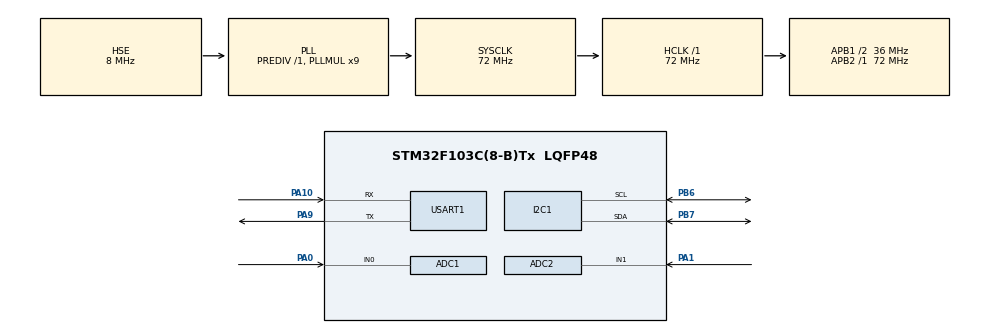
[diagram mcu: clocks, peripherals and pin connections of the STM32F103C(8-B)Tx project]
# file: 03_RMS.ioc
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ADC1.Channel-0\#ChannelRegularConversion=ADC_CHANNEL_0
ADC1.NbrOfConversionFlag=1
ADC1.Rank-0\#ChannelRegularConversion=1
ADC1.SamplingTime-0\#ChannelRegularConversion=ADC_SAMPLETIME_1CYCLE_5
ADC1.master=1
ADC2.Channel-0\#ChannelRegularConversion=ADC_CHANNEL_1
ADC2.NbrOfConversionFlag=1
ADC2.Rank-0\#ChannelRegularConversion=1
ADC2.SamplingTime-0\#ChannelRegularConversion=ADC_SAMPLETIME_1CYCLE_5
FREERTOS.Tasks01=defaultTask,24,128,StartDefaultTask,Default,NULL,Dynamic,NULL,NULL;TaskLCD,40,512,StartTaskLCD,Default,NULL,Dynamic,NULL,NULL;TaskUART,32,512,StartTaskUART,Default,NULL,Dynamic,NULL,NULL;TaskHumidity,24,128,StartTaskHumidity,Default,NULL,Dynamic,NULL,NULL;TaskTemperature,8,128,StartTaskTemperature,Default,NULL,Dynamic,NULL,NULL
FREERTOS.configTOTAL_HEAP_SIZE=7168
Mcu.Family=STM32F1
Mcu.Name=STM32F103C(8-B)Tx
Mcu.Package=LQFP48
NVIC.PriorityGroup=NVIC_PRIORITYGROUP_4
NVIC.TIM1_UP_IRQn=true\:15\:0\:false\:false\:true\:false\:false\:true\:true
NVIC.TimeBase=TIM1_UP_IRQn
NVIC.TimeBaseIP=TIM1
PA0-WKUP.Signal=ADCx_IN0
PA1.Signal=ADCx_IN1
PA10.Mode=Asynchronous
PA10.Signal=USART1_RX
PA13.Mode=Serial_Wire
PA13.Signal=SYS_JTMS-SWDIO
PA14.Mode=Serial_Wire
PA14.Signal=SYS_JTCK-SWCLK
PA9.Mode=Asynchronous
PA9.Signal=USART1_TX
PB6.Mode=I2C
PB6.Signal=I2C1_SCL
PB7.Mode=I2C
PB7.Signal=I2C1_SDA
PD0-OSC_IN.Mode=HSE-External-Oscillator
PD0-OSC_IN.Signal=RCC_OSC_IN
PD1-OSC_OUT.Mode=HSE-External-Oscillator
PD1-OSC_OUT.Signal=RCC_OSC_OUT
ProjectManager.HeapSize=0x200
ProjectManager.StackSize=0x400
ProjectManager.TargetToolchain=STM32CubeIDE
RCC.ADCPresc=RCC_ADCPCLK2_DIV6
RCC.AHBFreq_Value=72000000
RCC.APB1CLKDivider=RCC_HCLK_DIV2
RCC.APB1Freq_Value=36000000
RCC.APB1TimFreq_Value=72000000
RCC.APB2Freq_Value=72000000
RCC.APB2TimFreq_Value=72000000
RCC.HCLKFreq_Value=72000000
RCC.PLLMUL=RCC_PLL_MUL9
RCC.PLLSourceVirtual=RCC_PLLSOURCE_HSE
RCC.SYSCLKFreq_VALUE=72000000
RCC.SYSCLKSource=RCC_SYSCLKSOURCE_PLLCLK
RCC.USBFreq_Value=72000000
SH.ADCx_IN0.0=ADC1_IN0,IN0
SH.ADCx_IN1.0=ADC2_IN1,IN1
USART1.VirtualMode=VM_ASYNC
VP_FREERTOS_VS_CMSIS_V2.Mode=CMSIS_V2
VP_SYS_VS_tim1.Mode=TIM1
board=custom

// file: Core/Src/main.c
/* USER CODE BEGIN Header */
/**
  ******************************************************************************
  * @file           : main.c
  * @brief          : Main program body
  ******************************************************************************
  * @attention
  *
  * Copyright (c) 2026 STMicroelectronics.
  * All rights reserved.
  *
  * This software is licensed under terms that can be found in the LICENSE file
  * in the root directory of this software component.
  * If no LICENSE file comes with this software, it is provided AS-IS.
  *
  ******************************************************************************
  */
/* USER CODE END Header */
#include "main.h"
#include "cmsis_os.h"

/* USER CODE BEGIN Includes */
#include "stdio.h"
#include "math.h"
#include "CLCD_I2C.h"
/* USER CODE END Includes */

/* USER CODE BEGIN PTD */
volatile float humidity;
volatile float temperature;
/* USER CODE END PTD */

ADC_HandleTypeDef hadc1;
ADC_HandleTypeDef hadc2;

I2C_HandleTypeDef hi2c1;

UART_HandleTypeDef huart1;

/* Definitions for defaultTask */
osThreadId_t defaultTaskHandle;
const osThreadAttr_t defaultTask_attributes = {
  .name = "defaultTask",
  .stack_size = 128 * 4,
  .priority = (osPriority_t) osPriorityNormal,
};
/* Definitions for TaskLCD */
osThreadId_t TaskLCDHandle;
const osThreadAttr_t TaskLCD_attributes = {
  .name = "TaskLCD",
  .stack_size = 512 * 4,
  .priority = (osPriority_t) osPriorityHigh,
};
/* Definitions for TaskUART */
osThreadId_t TaskUARTHandle;
const osThreadAttr_t TaskUART_attributes = {
  .name = "TaskUART",
  .stack_size = 512 * 4,
  .priority = (osPriority_t) osPriorityAboveNormal,
};
/* Definitions for TaskHumidity */
osThreadId_t TaskHumidityHandle;
const osThreadAttr_t TaskHumidity_attributes = {
  .name = "TaskHumidity",
  .stack_size = 128 * 4,
  .priority = (osPriority_t) osPriorityNormal,
};
/* Definitions for TaskTemperature */
osThreadId_t TaskTemperatureHandle;
const osThreadAttr_t TaskTemperature_attributes = {
  .name = "TaskTemperature",
  .stack_size = 128 * 4,
  .priority = (osPriority_t) osPriorityLow,
};
/* USER CODE BEGIN PV */
CLCD_I2C_Name LCD1;
/* USER CODE END PV */

void SystemClock_Config(void);
static void MX_GPIO_Init(void);
static void MX_ADC1_Init(void);
static void MX_I2C1_Init(void);
static void MX_USART1_UART_Init(void);
static void MX_ADC2_Init(void);
void StartDefaultTask(void *argument);
void StartTaskLCD(void *argument);
void StartTaskUART(void *argument);
void StartTaskHumidity(void *argument);
void StartTaskTemperature(void *argument);

/* USER CODE BEGIN 0 */
int __io_putchar(int ch)
{
    HAL_UART_Transmit(&huart1, (uint8_t *)&ch, 1, HAL_MAX_DELAY);
    return ch;
}

void Read_Humidity() //T1 = 5 D1 = 4 C1 = 0.01
{
	HAL_ADC_Start(&hadc1);
	HAL_ADC_PollForConversion(&hadc1, 1);
	uint16_t adc_in0 = HAL_ADC_GetValue(&hadc1);
	HAL_ADC_Stop(&hadc1);

	float Vout = (adc_in0 * 3.3f) / 4095.0f;
	humidity = (Vout - 0.4f) / 0.031f;
}

void Read_Temperature() //T2 = 5 D2 = 4 D2 = 0.01
{
	HAL_ADC_Start(&hadc2);
	HAL_ADC_PollForConversion(&hadc2, 1);
	uint16_t adc_in1 = HAL_ADC_GetValue(&hadc2);
	HAL_ADC_Stop(&hadc2);

	float Vout = (adc_in1 * 3.3f) / 4095.0f;
	        float R_pulldown = 10000.0f; // 10k Ohm
	        float R_ntc = R_pulldown * ((5.3f / Vout) - 1.0f);
	        float B = 3435.0f;
	        float R0 = 10000.0f;
	        float T0 = 298.15f;
	        float inv_T = (1.0f / T0) + (1.0f / B) * log(R_ntc / R0);
	        temperature = (1.0f / inv_T) - 273.15f - 12.0f; // Chuyển từ Kelvin sang độ C

}

void Send_Uart() //T3 = 5 D3 = 4 C3 = 0.1
{
	printf("Humidity: %.1f %%\r\n", humidity);
	printf("Temperature: %.1f C\r\n", temperature);
}

void Display_LCD() //T4 = 1 D4 = 0.5 C4 = 0.3
{
	CLCD_I2C_SetCursor(&LCD1, 0, 0);
	CLCD_I2C_WriteString(&LCD1, "Hum: ");
	CLCD_I2C_WriteNumber(&LCD1, humidity, 1);
	CLCD_I2C_WriteString(&LCD1, " %");

	CLCD_I2C_SetCursor(&LCD1, 0, 1);
	CLCD_I2C_WriteString(&LCD1, "Temp: ");
	CLCD_I2C_WriteNumber(&LCD1, temperature, 1);
	CLCD_I2C_WriteString(&LCD1, " C");
}
/* USER CODE END 0 */

int main(void)
{

  /* MCU Configuration--------------------------------------------------------*/

  /* Reset of all peripherals, Initializes the Flash interface and the Systick. */
  HAL_Init();

  /* Configure the system clock */
  SystemClock_Config();

  /* Initialize all configured peripherals */
  MX_GPIO_Init();
  MX_ADC1_Init();
  MX_I2C1_Init();
  MX_USART1_UART_Init();
  MX_ADC2_Init();
  /* USER CODE BEGIN 2 */
  CLCD_I2C_Init(&LCD1, &hi2c1, 0x4e, 16, 2);
  /* USER CODE END 2 */

  /* Init scheduler */
  osKernelInitialize();

  /* Create the thread(s) */
  /* creation of defaultTask */
  defaultTaskHandle = osThreadNew(StartDefaultTask, NULL, &defaultTask_attributes);

  /* creation of TaskLCD */
  TaskLCDHandle = osThreadNew(StartTaskLCD, NULL, &TaskLCD_attributes);

  /* creation of TaskUART */
  TaskUARTHandle = osThreadNew(StartTaskUART, NULL, &TaskUART_attributes);

  /* creation of TaskHumidity */
  TaskHumidityHandle = osThreadNew(StartTaskHumidity, NULL, &TaskHumidity_attributes);

  /* creation of TaskTemperature */
  TaskTemperatureHandle = osThreadNew(StartTaskTemperature, NULL, &TaskTemperature_attributes);

  /* Start scheduler */
  osKernelStart();

  /* We should never get here as control is now taken by the scheduler */

  /* Infinite loop */
  while (1)
  {

  }
}

void SystemClock_Config(void)
{
  RCC_OscInitTypeDef RCC_OscInitStruct = {0};
  RCC_ClkInitTypeDef RCC_ClkInitStruct = {0};
  RCC_PeriphCLKInitTypeDef PeriphClkInit = {0};

  /** Initializes the RCC Oscillators according to the specified parameters
  * in the RCC_OscInitTypeDef structure.
  */
  RCC_OscInitStruct.OscillatorType = RCC_OSCILLATORTYPE_HSE;
  RCC_OscInitStruct.HSEState = RCC_HSE_ON;
  RCC_OscInitStruct.HSEPredivValue = RCC_HSE_PREDIV_DIV1;
  RCC_OscInitStruct.HSIState = RCC_HSI_ON;
  RCC_OscInitStruct.PLL.PLLState = RCC_PLL_ON;
  RCC_OscInitStruct.PLL.PLLSource = RCC_PLLSOURCE_HSE;
  RCC_OscInitStruct.PLL.PLLMUL = RCC_PLL_MUL9;
  if (HAL_RCC_OscConfig(&RCC_OscInitStruct) != HAL_OK)
  {
    Error_Handler();
  }

  /** Initializes the CPU, AHB and APB buses clocks
  */
  RCC_ClkInitStruct.ClockType = RCC_CLOCKTYPE_HCLK|RCC_CLOCKTYPE_SYSCLK
                              |RCC_CLOCKTYPE_PCLK1|RCC_CLOCKTYPE_PCLK2;
  RCC_ClkInitStruct.SYSCLKSource = RCC_SYSCLKSOURCE_PLLCLK;
  RCC_ClkInitStruct.AHBCLKDivider = RCC_SYSCLK_DIV1;
  RCC_ClkInitStruct.APB1CLKDivider = RCC_HCLK_DIV2;
  RCC_ClkInitStruct.APB2CLKDivider = RCC_HCLK_DIV1;

  if (HAL_RCC_ClockConfig(&RCC_ClkInitStruct, FLASH_LATENCY_2) != HAL_OK)
  {
    Error_Handler();
  }
  PeriphClkInit.PeriphClockSelection = RCC_PERIPHCLK_ADC;
  PeriphClkInit.AdcClockSelection = RCC_ADCPCLK2_DIV6;
  if (HAL_RCCEx_PeriphCLKConfig(&PeriphClkInit) != HAL_OK)
  {
    Error_Handler();
  }
}

static void MX_ADC1_Init(void)
{

  ADC_ChannelConfTypeDef sConfig = {0};

  /** Common config
  */
  hadc1.Instance = ADC1;
  hadc1.Init.ScanConvMode = ADC_SCAN_DISABLE;
  hadc1.Init.ContinuousConvMode = DISABLE;
  hadc1.Init.DiscontinuousConvMode = DISABLE;
  hadc1.Init.ExternalTrigConv = ADC_SOFTWARE_START;
  hadc1.Init.DataAlign = ADC_DATAALIGN_RIGHT;
  hadc1.Init.NbrOfConversion = 1;
  if (HAL_ADC_Init(&hadc1) != HAL_OK)
  {
    Error_Handler();
  }

  /** Configure Regular Channel
  */
  sConfig.Channel = ADC_CHANNEL_0;
  sConfig.Rank = ADC_REGULAR_RANK_1;
  sConfig.SamplingTime = ADC_SAMPLETIME_1CYCLE_5;
  if (HAL_ADC_ConfigChannel(&hadc1, &sConfig) != HAL_OK)
  {
    Error_Handler();
  }

}

static void MX_ADC2_Init(void)
{

  ADC_ChannelConfTypeDef sConfig = {0};

  /** Common config
  */
  hadc2.Instance = ADC2;
  hadc2.Init.ScanConvMode = ADC_SCAN_DISABLE;
  hadc2.Init.ContinuousConvMode = DISABLE;
  hadc2.Init.DiscontinuousConvMode = DISABLE;
  hadc2.Init.ExternalTrigConv = ADC_SOFTWARE_START;
  hadc2.Init.DataAlign = ADC_DATAALIGN_RIGHT;
  hadc2.Init.NbrOfConversion = 1;
  if (HAL_ADC_Init(&hadc2) != HAL_OK)
  {
    Error_Handler();
  }

  /** Configure Regular Channel
  */
  sConfig.Channel = ADC_CHANNEL_1;
  sConfig.Rank = ADC_REGULAR_RANK_1;
  sConfig.SamplingTime = ADC_SAMPLETIME_1CYCLE_5;
  if (HAL_ADC_ConfigChannel(&hadc2, &sConfig) != HAL_OK)
  {
    Error_Handler();
  }

}

static void MX_I2C1_Init(void)
{

  hi2c1.Instance = I2C1;
  hi2c1.Init.ClockSpeed = 100000;
  hi2c1.Init.DutyCycle = I2C_DUTYCYCLE_2;
  hi2c1.Init.OwnAddress1 = 0;
  hi2c1.Init.AddressingMode = I2C_ADDRESSINGMODE_7BIT;
  hi2c1.Init.DualAddressMode = I2C_DUALADDRESS_DISABLE;
  hi2c1.Init.OwnAddress2 = 0;
  hi2c1.Init.GeneralCallMode = I2C_GENERALCALL_DISABLE;
  hi2c1.Init.NoStretchMode = I2C_NOSTRETCH_DISABLE;
  if (HAL_I2C_Init(&hi2c1) != HAL_OK)
  {
    Error_Handler();
  }

}

static void MX_USART1_UART_Init(void)
{

  huart1.Instance = USART1;
  huart1.Init.BaudRate = 115200;
  huart1.Init.WordLength = UART_WORDLENGTH_8B;
  huart1.Init.StopBits = UART_STOPBITS_1;
  huart1.Init.Parity = UART_PARITY_NONE;
  huart1.Init.Mode = UART_MODE_TX_RX;
  huart1.Init.HwFlowCtl = UART_HWCONTROL_NONE;
  huart1.Init.OverSampling = UART_OVERSAMPLING_16;
  if (HAL_UART_Init(&huart1) != HAL_OK)
  {
    Error_Handler();
  }

}

static void MX_GPIO_Init(void)
{

  /* GPIO Ports Clock Enable */
  __HAL_RCC_GPIOD_CLK_ENABLE();
  __HAL_RCC_GPIOA_CLK_ENABLE();
  __HAL_RCC_GPIOB_CLK_ENABLE();

}

void StartDefaultTask(void *argument)
{
  for(;;)
  {
    osDelay(1);
  }
}

void StartTaskLCD(void *argument)
{
  /* USER CODE BEGIN StartTaskLCD */
	uint32_t tick = osKernelGetTickCount();
  /* Infinite loop */
  for(;;)
  {
	tick += 1000;
    Display_LCD();
    osDelayUntil(tick);
  }
  /* USER CODE END StartTaskLCD */
}

void StartTaskUART(void *argument)
{
  /* USER CODE BEGIN StartTaskUART */
	uint32_t tick = osKernelGetTickCount();
  /* Infinite loop */
  for(;;)
  {
	  tick += 5000;
	  Send_Uart();
	  osDelayUntil(tick);
  }
  /* USER CODE END StartTaskUART */
}

void StartTaskHumidity(void *argument)
{
  /* USER CODE BEGIN StartTaskHumidity */
	uint32_t tick = osKernelGetTickCount();
  /* Infinite loop */
  for(;;)
  {
	  tick += 5000;
	  Read_Humidity();
	  osDelayUntil(tick);
  }
  /* USER CODE END StartTaskHumidity */
}

void StartTaskTemperature(void *argument)
{
  /* USER CODE BEGIN StartTaskTemperature */
	uint32_t tick = osKernelGetTickCount();
  /* Infinite loop */
  for(;;)
  {
	  tick += 5000;
	  Read_Temperature();
	  osDelayUntil(tick);
  }
  /* USER CODE END StartTaskTemperature */
}

void HAL_TIM_PeriodElapsedCallback(TIM_HandleTypeDef *htim)
{
  if (htim->Instance == TIM1)
  {
    HAL_IncTick();
  }
}

void Error_Handler(void)
{
  __disable_irq();
  while (1)
  {
  }
}
